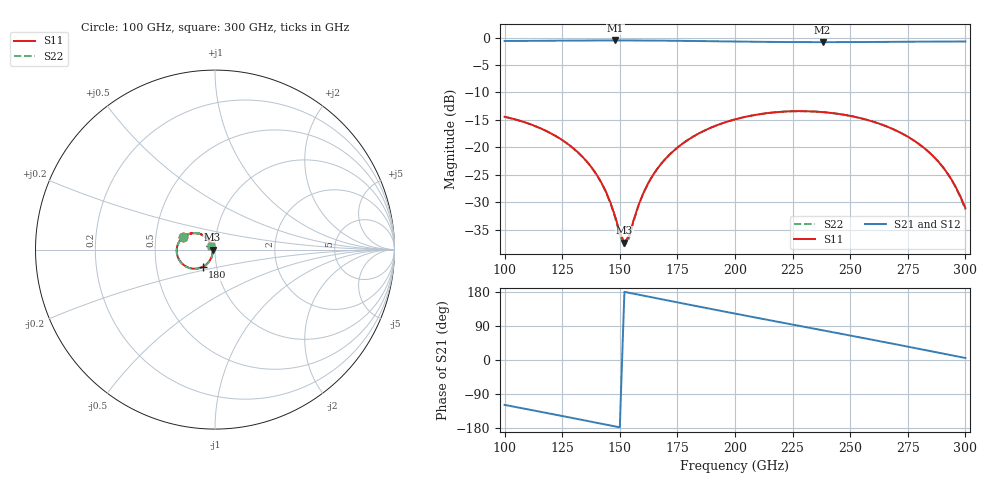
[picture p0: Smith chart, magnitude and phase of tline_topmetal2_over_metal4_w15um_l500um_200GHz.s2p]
#  GHZ S DB R 50
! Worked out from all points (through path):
!   101 points, 100 GHz to 300 GHz, reference 50 ohm
!   highest |S21| = -0.52 dB at 148 GHz (marker M1); lowest = -0.8 dB at 238 GHz (marker M2)
!   group delay of S21, straight-line fit = 3.28 ps
!   lowest |S11| = -37.4 dB at 152 GHz (marker M3), VSWR 1.03, Z = 48.7 + j0.012 ohm
!   |S11| at or under -10 dB: start of sweep to end of sweep
!   |S22| runs from -38.0 to -13.4 dB; largest |S21 - S12| = 1.1e-14
!   S11 on the Smith chart (normalised r, x): 100 GHz: 0.69, +0.10; 180 GHz: 0.86, -0.17; 300 GHz: 0.96, +0.04
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100  -14.44 159.1  -0.62 -118.5  -0.62 -118.5  -14.44 159.0
120  -17.44 137.5  -0.57 -141.9  -0.57 -141.9  -17.44 137.2
134  -21.82 124.8  -0.54 -158.5  -0.54 -158.5  -21.83 124.2
142  -26.43 122.2  -0.53 -168.1  -0.53 -168.1  -26.49 121.2
148  -32.64 133.9  -0.52 -175.4  -0.52 -175.4  -32.86 132.1
150  -35.49 149.5  -0.52 -177.8  -0.52 -177.8  -35.90 147.7
152  -37.39 179.5  -0.52 179.8  -0.52 179.8  -38.02 179.4
154  -36.11 -147.9  -0.53 177.4  -0.53 177.4  -36.56 -145.8
158  -30.68 -120.7  -0.53 172.6  -0.53 172.6  -30.80 -118.9
160  -28.55 -116.7  -0.54 170.2  -0.54 170.2  -28.62 -115.3
168  -22.98 -116.0  -0.56 160.5  -0.56 160.5  -22.99 -115.2
180  -18.53 -125.6  -0.61 146.1  -0.61 146.1  -18.53 -125.1
200  -14.91 -146.3  -0.72 122.5  -0.72 122.5  -14.91 -146.0
218  -13.60 -165.7  -0.80 101.5  -0.80 101.5  -13.60 -165.5
234  -13.47 177.0  -0.83 83.1  -0.83 83.1  -13.47 177.2
238  -13.58 172.8  -0.83 78.4  -0.83 78.4  -13.58 172.9
252  -14.45 157.9  -0.82 62.2  -0.82 62.2  -14.45 157.9
268  -16.58 141.5  -0.78 43.5  -0.78 43.5  -16.58 141.4
280  -19.45 130.7  -0.74 29.3  -0.74 29.3  -19.46 130.3
288  -22.48 125.8  -0.73 19.7  -0.73 19.7  -22.51 125.1
294  -25.89 126.0  -0.72 12.5  -0.72 12.5  -25.96 124.8
300  -31.07 139.2  -0.71 5.2  -0.71 5.2  -31.35 137.2
